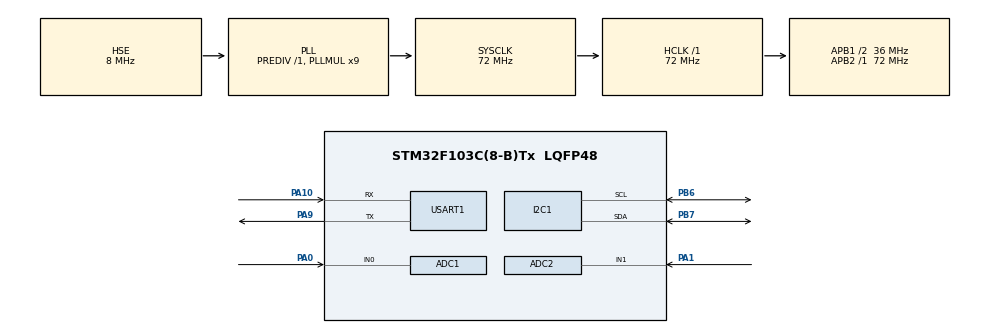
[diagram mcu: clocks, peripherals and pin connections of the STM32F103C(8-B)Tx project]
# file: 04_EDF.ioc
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ADC1.Channel-0\#ChannelRegularConversion=ADC_CHANNEL_0
ADC1.NbrOfConversionFlag=1
ADC1.Rank-0\#ChannelRegularConversion=1
ADC1.SamplingTime-0\#ChannelRegularConversion=ADC_SAMPLETIME_1CYCLE_5
ADC1.master=1
ADC2.Channel-0\#ChannelRegularConversion=ADC_CHANNEL_1
ADC2.NbrOfConversionFlag=1
ADC2.Rank-0\#ChannelRegularConversion=1
ADC2.SamplingTime-0\#ChannelRegularConversion=ADC_SAMPLETIME_1CYCLE_5
FREERTOS.Tasks01=TaskEDF,48,128,StartTaskEDF,Default,NULL,Dynamic,NULL,NULL;TaskLCD,24,512,StartTaskLCD,Default,NULL,Dynamic,NULL,NULL;TaskUART,24,512,StartTaskUART,Default,NULL,Dynamic,NULL,NULL;TaskHumidity,24,128,StartTaskHumidity,Default,NULL,Dynamic,NULL,NULL;TaskTemperature,24,128,StartTaskTemperature,Default,NULL,Dynamic,NULL,NULL
FREERTOS.configTOTAL_HEAP_SIZE=7168
Mcu.Family=STM32F1
Mcu.Name=STM32F103C(8-B)Tx
Mcu.Package=LQFP48
NVIC.PriorityGroup=NVIC_PRIORITYGROUP_4
NVIC.TIM1_UP_IRQn=true\:15\:0\:false\:false\:true\:false\:false\:true\:true
NVIC.TIM2_IRQn=true\:5\:0\:false\:false\:true\:true\:true\:true\:true
NVIC.TimeBase=TIM1_UP_IRQn
NVIC.TimeBaseIP=TIM1
NVIC.USART1_IRQn=true\:5\:0\:false\:false\:true\:true\:true\:true\:true
PA0-WKUP.Signal=ADCx_IN0
PA1.Signal=ADCx_IN1
PA10.Mode=Asynchronous
PA10.Signal=USART1_RX
PA13.Mode=Serial_Wire
PA13.Signal=SYS_JTMS-SWDIO
PA14.Mode=Serial_Wire
PA14.Signal=SYS_JTCK-SWCLK
PA9.Mode=Asynchronous
PA9.Signal=USART1_TX
PB6.Mode=I2C
PB6.Signal=I2C1_SCL
PB7.Mode=I2C
PB7.Signal=I2C1_SDA
PD0-OSC_IN.Mode=HSE-External-Oscillator
PD0-OSC_IN.Signal=RCC_OSC_IN
PD1-OSC_OUT.Mode=HSE-External-Oscillator
PD1-OSC_OUT.Signal=RCC_OSC_OUT
ProjectManager.HeapSize=0x200
ProjectManager.StackSize=0x400
ProjectManager.TargetToolchain=STM32CubeIDE
RCC.ADCPresc=RCC_ADCPCLK2_DIV6
RCC.AHBFreq_Value=72000000
RCC.APB1CLKDivider=RCC_HCLK_DIV2
RCC.APB1Freq_Value=36000000
RCC.APB1TimFreq_Value=72000000
RCC.APB2Freq_Value=72000000
RCC.APB2TimFreq_Value=72000000
RCC.HCLKFreq_Value=72000000
RCC.PLLMUL=RCC_PLL_MUL9
RCC.PLLSourceVirtual=RCC_PLLSOURCE_HSE
RCC.SYSCLKFreq_VALUE=72000000
RCC.SYSCLKSource=RCC_SYSCLKSOURCE_PLLCLK
RCC.USBFreq_Value=72000000
SH.ADCx_IN0.0=ADC1_IN0,IN0
SH.ADCx_IN1.0=ADC2_IN1,IN1
TIM2.Prescaler=7199
USART1.VirtualMode=VM_ASYNC
VP_FREERTOS_VS_CMSIS_V2.Mode=CMSIS_V2
VP_SYS_VS_tim1.Mode=TIM1
VP_TIM2_VS_ClockSourceINT.Mode=Internal
board=custom

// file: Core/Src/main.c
/* USER CODE BEGIN Header */
/**
  ******************************************************************************
  * @file           : main.c
  * @brief          : Main program body
  ******************************************************************************
  * @attention
  *
  * Copyright (c) 2026 STMicroelectronics.
  * All rights reserved.
  *
  * This software is licensed under terms that can be found in the LICENSE file
  * in the root directory of this software component.
  * If no LICENSE file comes with this software, it is provided AS-IS.
  *
  ******************************************************************************
  */
/* USER CODE END Header */
#include "main.h"
#include "cmsis_os.h"

/* USER CODE BEGIN Includes */
#include "stdio.h"
#include "math.h"
#include "CLCD_I2C.h"
/* USER CODE END Includes */

/* USER CODE BEGIN PTD */
volatile float humidity;
volatile float temperature;

typedef struct {
    osThreadId_t id;
    uint32_t period;
    uint32_t deadline;
} EDFTask;

EDFTask edf[4];

uint32_t tickEDF = 0;
uint32_t EDF_period = 10;
/* USER CODE END PTD */

/* USER CODE BEGIN PD */
#define RX_BUF 32
uint8_t rx_char;
char cmd_buf[RX_BUF];
uint8_t cmd_idx = 0;
volatile uint8_t cmd_flag = 0;
/* USER CODE END PD */

ADC_HandleTypeDef hadc1;
ADC_HandleTypeDef hadc2;

I2C_HandleTypeDef hi2c1;

TIM_HandleTypeDef htim2;

UART_HandleTypeDef huart1;

/* Definitions for TaskEDF */
osThreadId_t TaskEDFHandle;
const osThreadAttr_t TaskEDF_attributes = {
  .name = "TaskEDF",
  .stack_size = 128 * 4,
  .priority = (osPriority_t) osPriorityRealtime,
};
/* Definitions for TaskLCD */
osThreadId_t TaskLCDHandle;
const osThreadAttr_t TaskLCD_attributes = {
  .name = "TaskLCD",
  .stack_size = 512 * 4,
  .priority = (osPriority_t) osPriorityNormal,
};
/* Definitions for TaskUART */
osThreadId_t TaskUARTHandle;
const osThreadAttr_t TaskUART_attributes = {
  .name = "TaskUART",
  .stack_size = 512 * 4,
  .priority = (osPriority_t) osPriorityNormal,
};
/* Definitions for TaskHumidity */
osThreadId_t TaskHumidityHandle;
const osThreadAttr_t TaskHumidity_attributes = {
  .name = "TaskHumidity",
  .stack_size = 128 * 4,
  .priority = (osPriority_t) osPriorityNormal,
};
/* Definitions for TaskTemperature */
osThreadId_t TaskTemperatureHandle;
const osThreadAttr_t TaskTemperature_attributes = {
  .name = "TaskTemperature",
  .stack_size = 128 * 4,
  .priority = (osPriority_t) osPriorityNormal,
};
/* USER CODE BEGIN PV */
CLCD_I2C_Name LCD1;
osMutexId_t dataMutex;
/* USER CODE END PV */

void SystemClock_Config(void);
static void MX_GPIO_Init(void);
static void MX_ADC1_Init(void);
static void MX_I2C1_Init(void);
static void MX_USART1_UART_Init(void);
static void MX_ADC2_Init(void);
static void MX_TIM2_Init(void);
void StartTaskEDF(void *argument);
void StartTaskLCD(void *argument);
void StartTaskUART(void *argument);
void StartTaskHumidity(void *argument);
void StartTaskTemperature(void *argument);

/* USER CODE BEGIN 0 */
int __io_putchar(int ch)
{
    HAL_UART_Transmit(&huart1, (uint8_t *)&ch, 1, 2);
    return ch;
}

void Read_Humidity() //T1 = 5 D1 = 4 C1 = 0.01
{
	HAL_ADC_Start(&hadc1);
	HAL_ADC_PollForConversion(&hadc1, 1);
	uint16_t adc_in0 = HAL_ADC_GetValue(&hadc1);
	HAL_ADC_Stop(&hadc1);

	float Vout = (adc_in0 * 3.3f) / 4095.0f;
	float h = (Vout - 0.4f) / 0.031f;
	osMutexAcquire(dataMutex, osWaitForever);
	humidity = h;
	osMutexRelease(dataMutex);
}

void Read_Temperature() //T2 = 5 D2 = 4 D2 = 0.01
{
	HAL_ADC_Start(&hadc2);
	HAL_ADC_PollForConversion(&hadc2, 1);
	uint16_t adc_in1 = HAL_ADC_GetValue(&hadc2);
	HAL_ADC_Stop(&hadc2);

	float Vout = (adc_in1 * 3.3f) / 4095.0f;
	float R_pulldown = 10000.0f; // 10k Ohm
	float R_ntc = R_pulldown * ((5.3f / Vout) - 1.0f);
	float B = 3435.0f;
	float R0 = 10000.0f;
	float T0 = 298.15f;
	float inv_T = (1.0f / T0) + (1.0f / B) * log(R_ntc / R0);
	float t = (1.0f / inv_T) - 273.15f - 12.0f; // Chuyển từ Kelvin sang độ C
	osMutexAcquire(dataMutex, osWaitForever);
	temperature = t;
	osMutexRelease(dataMutex);
}

void Send_Uart() //T3 = 5 D3 = 4 C3 = 0.1
{
	float h, t;
	osMutexAcquire(dataMutex, osWaitForever);
	h = humidity;
	t = temperature;
	osMutexRelease(dataMutex);
	printf("Humidity: %.1f %%\r\n", h);
	printf("Temperature: %.1f C\r\n", t);
}

void Display_LCD() //T4 = 1 D4 = 0.5 C4 = 0.3
{
	float h, t;
	osMutexAcquire(dataMutex, osWaitForever);
	h = humidity;
	t = temperature;
	osMutexRelease(dataMutex);

	CLCD_I2C_SetCursor(&LCD1, 0, 0);
	CLCD_I2C_WriteString(&LCD1, "Hum: ");
	CLCD_I2C_WriteNumber(&LCD1, h, 1);
	CLCD_I2C_WriteString(&LCD1, " %");

	CLCD_I2C_SetCursor(&LCD1, 0, 1);
	CLCD_I2C_WriteString(&LCD1, "Temp: ");
	CLCD_I2C_WriteNumber(&LCD1, t, 1);
	CLCD_I2C_WriteString(&LCD1, " C");
}

void EDFScheduler()
{
    tickEDF++;

    // update deadline
    for (int i = 0; i < 4; i++)
    {
        if (tickEDF >= edf[i].deadline)
            edf[i].deadline += edf[i].period;
    }

    // sort EDF (bubble sort)
    for (int i = 0; i < 4 - 1; i++)
    {
        for (int j = i + 1; j < 4; j++)
        {
            if (edf[i].deadline > edf[j].deadline)
            {
                EDFTask tmp = edf[i];
                edf[i] = edf[j];
                edf[j] = tmp;
            }
        }
    }

    // gán priority
    for (int i = 0; i < 4; i++)
    {
        osPriority_t pr =
            osPriorityRealtime - i;

        osThreadSetPriority(edf[i].id, pr);
    }
}

void Parse_Command()
{
    int id1, id2, per, dead;

    // format: T0=10
    if(sscanf(cmd_buf, "T%d=%d D%d=%d", &id1, &per, &id2, &dead) == 4)
    {
        if(id1 >= 0 && id1 < 4 && id2 >= 0 && id2 < 4 && per > 0 && dead > 0)
        {
            __disable_irq();
            edf[id1].period = per;
            edf[id2].deadline = dead;
            __enable_irq();
        }
    }
}

void HAL_UART_RxCpltCallback(UART_HandleTypeDef *huart)
{
    if(huart->Instance == USART1)
    {
        if(rx_char == '\r' || rx_char == '\n')
        {
            cmd_buf[cmd_idx] = 0;
            Parse_Command();
            cmd_idx = 0;
        }
        else if(cmd_idx < RX_BUF-1)
        {
            cmd_buf[cmd_idx++] = rx_char;
        }

        HAL_UART_Receive_IT(&huart1, &rx_char, 1);
    }
}

/* USER CODE END 0 */

int main(void)
{

  /* MCU Configuration--------------------------------------------------------*/

  /* Reset of all peripherals, Initializes the Flash interface and the Systick. */
  HAL_Init();

  /* USER CODE BEGIN Init */
  CLCD_I2C_Init(&LCD1, &hi2c1, 0x4e, 2, 2);
  /* USER CODE END Init */

  /* Configure the system clock */
  SystemClock_Config();

  /* Initialize all configured peripherals */
  MX_GPIO_Init();
  MX_ADC1_Init();
  MX_I2C1_Init();
  MX_USART1_UART_Init();
  MX_ADC2_Init();
  MX_TIM2_Init();
  /* USER CODE BEGIN 2 */
  HAL_TIM_Base_Start_IT(&htim2);
  HAL_UART_Receive_IT(&huart1, &rx_char, 1);
  /* USER CODE END 2 */

  /* Init scheduler */
  osKernelInitialize();

  /* Create the thread(s) */
  /* creation of TaskEDF */
  TaskEDFHandle = osThreadNew(StartTaskEDF, NULL, &TaskEDF_attributes);

  /* creation of TaskLCD */
  TaskLCDHandle = osThreadNew(StartTaskLCD, NULL, &TaskLCD_attributes);

  /* creation of TaskUART */
  TaskUARTHandle = osThreadNew(StartTaskUART, NULL, &TaskUART_attributes);

  /* creation of TaskHumidity */
  TaskHumidityHandle = osThreadNew(StartTaskHumidity, NULL, &TaskHumidity_attributes);

  /* creation of TaskTemperature */
  TaskTemperatureHandle = osThreadNew(StartTaskTemperature, NULL, &TaskTemperature_attributes);

  /* USER CODE BEGIN RTOS_THREADS */
  edf[0] = (EDFTask){TaskHumidityHandle,    500, 400};
  edf[1] = (EDFTask){TaskTemperatureHandle, 500, 400};
  edf[2] = (EDFTask){TaskUARTHandle,        500, 400};
  edf[3] = (EDFTask){TaskLCDHandle,         100, 50};
  /* add threads, ... */
  /* USER CODE END RTOS_THREADS */

  /* Start scheduler */
  osKernelStart();

  /* We should never get here as control is now taken by the scheduler */

  /* Infinite loop */
  while (1)
  {

  }
}

void SystemClock_Config(void)
{
  RCC_OscInitTypeDef RCC_OscInitStruct = {0};
  RCC_ClkInitTypeDef RCC_ClkInitStruct = {0};
  RCC_PeriphCLKInitTypeDef PeriphClkInit = {0};

  /** Initializes the RCC Oscillators according to the specified parameters
  * in the RCC_OscInitTypeDef structure.
  */
  RCC_OscInitStruct.OscillatorType = RCC_OSCILLATORTYPE_HSE;
  RCC_OscInitStruct.HSEState = RCC_HSE_ON;
  RCC_OscInitStruct.HSEPredivValue = RCC_HSE_PREDIV_DIV1;
  RCC_OscInitStruct.HSIState = RCC_HSI_ON;
  RCC_OscInitStruct.PLL.PLLState = RCC_PLL_ON;
  RCC_OscInitStruct.PLL.PLLSource = RCC_PLLSOURCE_HSE;
  RCC_OscInitStruct.PLL.PLLMUL = RCC_PLL_MUL9;
  if (HAL_RCC_OscConfig(&RCC_OscInitStruct) != HAL_OK)
  {
    Error_Handler();
  }

  /** Initializes the CPU, AHB and APB buses clocks
  */
  RCC_ClkInitStruct.ClockType = RCC_CLOCKTYPE_HCLK|RCC_CLOCKTYPE_SYSCLK
                              |RCC_CLOCKTYPE_PCLK1|RCC_CLOCKTYPE_PCLK2;
  RCC_ClkInitStruct.SYSCLKSource = RCC_SYSCLKSOURCE_PLLCLK;
  RCC_ClkInitStruct.AHBCLKDivider = RCC_SYSCLK_DIV1;
  RCC_ClkInitStruct.APB1CLKDivider = RCC_HCLK_DIV2;
  RCC_ClkInitStruct.APB2CLKDivider = RCC_HCLK_DIV1;

  if (HAL_RCC_ClockConfig(&RCC_ClkInitStruct, FLASH_LATENCY_2) != HAL_OK)
  {
    Error_Handler();
  }
  PeriphClkInit.PeriphClockSelection = RCC_PERIPHCLK_ADC;
  PeriphClkInit.AdcClockSelection = RCC_ADCPCLK2_DIV6;
  if (HAL_RCCEx_PeriphCLKConfig(&PeriphClkInit) != HAL_OK)
  {
    Error_Handler();
  }
}

static void MX_ADC1_Init(void)
{

  ADC_ChannelConfTypeDef sConfig = {0};

  /** Common config
  */
  hadc1.Instance = ADC1;
  hadc1.Init.ScanConvMode = ADC_SCAN_DISABLE;
  hadc1.Init.ContinuousConvMode = DISABLE;
  hadc1.Init.DiscontinuousConvMode = DISABLE;
  hadc1.Init.ExternalTrigConv = ADC_SOFTWARE_START;
  hadc1.Init.DataAlign = ADC_DATAALIGN_RIGHT;
  hadc1.Init.NbrOfConversion = 1;
  if (HAL_ADC_Init(&hadc1) != HAL_OK)
  {
    Error_Handler();
  }

  /** Configure Regular Channel
  */
  sConfig.Channel = ADC_CHANNEL_0;
  sConfig.Rank = ADC_REGULAR_RANK_1;
  sConfig.SamplingTime = ADC_SAMPLETIME_1CYCLE_5;
  if (HAL_ADC_ConfigChannel(&hadc1, &sConfig) != HAL_OK)
  {
    Error_Handler();
  }

}

static void MX_ADC2_Init(void)
{

  ADC_ChannelConfTypeDef sConfig = {0};

  /** Common config
  */
  hadc2.Instance = ADC2;
  hadc2.Init.ScanConvMode = ADC_SCAN_DISABLE;
  hadc2.Init.ContinuousConvMode = DISABLE;
  hadc2.Init.DiscontinuousConvMode = DISABLE;
  hadc2.Init.ExternalTrigConv = ADC_SOFTWARE_START;
  hadc2.Init.DataAlign = ADC_DATAALIGN_RIGHT;
  hadc2.Init.NbrOfConversion = 1;
  if (HAL_ADC_Init(&hadc2) != HAL_OK)
  {
    Error_Handler();
  }

  /** Configure Regular Channel
  */
  sConfig.Channel = ADC_CHANNEL_1;
  sConfig.Rank = ADC_REGULAR_RANK_1;
  sConfig.SamplingTime = ADC_SAMPLETIME_1CYCLE_5;
  if (HAL_ADC_ConfigChannel(&hadc2, &sConfig) != HAL_OK)
  {
    Error_Handler();
  }

}

static void MX_I2C1_Init(void)
{

  hi2c1.Instance = I2C1;
  hi2c1.Init.ClockSpeed = 100000;
  hi2c1.Init.DutyCycle = I2C_DUTYCYCLE_2;
  hi2c1.Init.OwnAddress1 = 0;
  hi2c1.Init.AddressingMode = I2C_ADDRESSINGMODE_7BIT;
  hi2c1.Init.DualAddressMode = I2C_DUALADDRESS_DISABLE;
  hi2c1.Init.OwnAddress2 = 0;
  hi2c1.Init.GeneralCallMode = I2C_GENERALCALL_DISABLE;
  hi2c1.Init.NoStretchMode = I2C_NOSTRETCH_DISABLE;
  if (HAL_I2C_Init(&hi2c1) != HAL_OK)
  {
    Error_Handler();
  }

}

static void MX_TIM2_Init(void)
{

  TIM_ClockConfigTypeDef sClockSourceConfig = {0};
  TIM_MasterConfigTypeDef sMasterConfig = {0};

  htim2.Instance = TIM2;
  htim2.Init.Prescaler = 7199;
  htim2.Init.CounterMode = TIM_COUNTERMODE_UP;
  htim2.Init.Period = 65535;
  htim2.Init.ClockDivision = TIM_CLOCKDIVISION_DIV1;
  htim2.Init.AutoReloadPreload = TIM_AUTORELOAD_PRELOAD_DISABLE;
  if (HAL_TIM_Base_Init(&htim2) != HAL_OK)
  {
    Error_Handler();
  }
  sClockSourceConfig.ClockSource = TIM_CLOCKSOURCE_INTERNAL;
  if (HAL_TIM_ConfigClockSource(&htim2, &sClockSourceConfig) != HAL_OK)
  {
    Error_Handler();
  }
  sMasterConfig.MasterOutputTrigger = TIM_TRGO_RESET;
  sMasterConfig.MasterSlaveMode = TIM_MASTERSLAVEMODE_DISABLE;
  if (HAL_TIMEx_MasterConfigSynchronization(&htim2, &sMasterConfig) != HAL_OK)
  {
    Error_Handler();
  }

}

static void MX_USART1_UART_Init(void)
{

  huart1.Instance = USART1;
  huart1.Init.BaudRate = 115200;
  huart1.Init.WordLength = UART_WORDLENGTH_8B;
  huart1.Init.StopBits = UART_STOPBITS_1;
  huart1.Init.Parity = UART_PARITY_NONE;
  huart1.Init.Mode = UART_MODE_TX_RX;
  huart1.Init.HwFlowCtl = UART_HWCONTROL_NONE;
  huart1.Init.OverSampling = UART_OVERSAMPLING_16;
  if (HAL_UART_Init(&huart1) != HAL_OK)
  {
    Error_Handler();
  }

}

static void MX_GPIO_Init(void)
{

  /* GPIO Ports Clock Enable */
  __HAL_RCC_GPIOD_CLK_ENABLE();
  __HAL_RCC_GPIOA_CLK_ENABLE();
  __HAL_RCC_GPIOB_CLK_ENABLE();

}

void StartTaskEDF(void *argument)
{
  /* USER CODE BEGIN 5 */
	uint32_t tick = osKernelGetTickCount();
  /* Infinite loop */
  for(;;)
  {
	  tick += EDF_period;
	  EDFScheduler();
	  osDelayUntil(tick);
  }
  /* USER CODE END 5 */
}

void StartTaskLCD(void *argument)
{
  /* USER CODE BEGIN StartTaskLCD */
	uint32_t tick = osKernelGetTickCount();
  /* Infinite loop */
  for(;;)
  {
	tick += EDF_period * edf[3].period;
    Display_LCD();
    osDelayUntil(tick);
  }
  /* USER CODE END StartTaskLCD */
}

void StartTaskUART(void *argument)
{
  /* USER CODE BEGIN StartTaskUART */
	uint32_t tick = osKernelGetTickCount();
  /* Infinite loop */
  for(;;)
  {
	  tick += EDF_period * edf[2].period;
	  Send_Uart();
	  osDelayUntil(tick);
  }
  /* USER CODE END StartTaskUART */
}

void StartTaskHumidity(void *argument)
{
  /* USER CODE BEGIN StartTaskHumidity */
	uint32_t tick = osKernelGetTickCount();
  /* Infinite loop */
  for(;;)
  {
	  tick += EDF_period * edf[0].period;
	  Read_Humidity();
	  osDelayUntil(tick);
  }
  /* USER CODE END StartTaskHumidity */
}

void StartTaskTemperature(void *argument)
{
  /* USER CODE BEGIN StartTaskTemperature */
	uint32_t tick = osKernelGetTickCount();
  /* Infinite loop */
  for(;;)
  {
	  tick += EDF_period * edf[1].period;
	  Read_Temperature();
	  osDelayUntil(tick);
  }
  /* USER CODE END StartTaskTemperature */
}

void HAL_TIM_PeriodElapsedCallback(TIM_HandleTypeDef *htim)
{
  if (htim->Instance == TIM1)
  {
    HAL_IncTick();
  }
}

void Error_Handler(void)
{
  __disable_irq();
  while (1)
  {
  }
}
